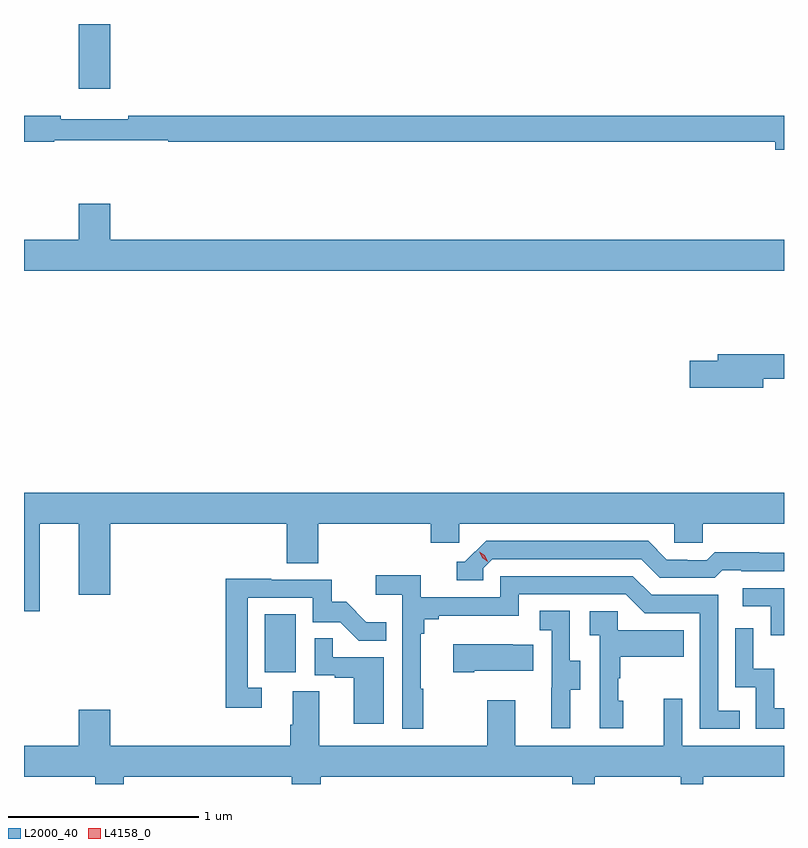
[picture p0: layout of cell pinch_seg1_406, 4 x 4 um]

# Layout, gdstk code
import gdstk
lib = gdstk.Library(unit=1e-6, precision=1e-09)
def R(c, l, rs):  # rectangles x0, y0, x1, y1
    for r in rs: c.add(gdstk.rectangle(r[:2], r[2:], *l))
def P(c, l, *ps):  # polygons
    for p in ps: c.add(gdstk.Polygon(p, *l))
L2000_40 = (2000, 40)
L4158_0 = (4158, 0)

pinch_seg1_406 = lib.new_cell('pinch_seg1_406')
R(pinch_seg1_406, L2000_40, [(945.206,537.63,945.37,537.937), (944.228,540.702,944.392,541.043)])
P(pinch_seg1_406, L2000_40, [(947.939,540.56),(944.488,540.56),(944.488,540.541),(944.132,540.541),(944.132,540.56),(943.939,540.56),(943.939,540.424),(944.098,540.424),(944.098,540.432),(944.698,540.432),(944.698,540.424),(947.894,540.424),(947.894,540.382),(947.939,540.382)],
  [(947.939,539.908),(944.392,539.908),(944.392,540.097),(944.228,540.097),(944.228,539.908),(943.939,539.908),(943.939,539.744),(947.939,539.744)],
  [(947.83,539.176),(947.939,539.176),(947.939,539.305),(947.591,539.305),(947.591,539.271),(947.442,539.271),(947.442,539.129),(947.83,539.129)],
  [(944.023,538.412),(944.228,538.412),(944.228,538.038),(944.392,538.038),(944.392,538.412),(945.323,538.412),(945.323,538.204),(945.488,538.204),(945.488,538.412),(946.079,538.412),(946.079,538.314),(946.23,538.314),(946.23,538.412),(947.361,538.412),(947.361,538.314),(947.511,538.314),(947.511,538.412),(947.939,538.412),(947.939,538.576),(943.939,538.576),(943.939,537.951),(944.023,537.951)],
  [(946.356,538.179),(946.404,538.227),(947.187,538.227),(947.286,538.128),(947.575,538.128),(947.614,538.167),(947.713,538.167),(947.713,538.164),(947.939,538.164),(947.939,538.261),(947.808,538.261),(947.808,538.264),(947.575,538.264),(947.533,538.221),(947.43,538.221),(947.43,538.224),(947.323,538.224),(947.224,538.323),(946.371,538.323),(946.26,538.212),(946.217,538.212),(946.217,538.116),(946.356,538.116)],
  [(946.039,537.545),(946.027,537.545),(946.027,537.833),(946.046,537.833),(946.046,537.91),(946.123,537.91),(946.123,537.929),(946.542,537.929),(946.542,538.041),(947.106,538.041),(947.205,537.942),(947.496,537.942),(947.496,537.333),(947.705,537.333),(947.705,537.429),(947.592,537.429),(947.592,538.038),(947.242,538.038),(947.143,538.137),(946.446,538.137),(946.446,538.026),(946.028,538.026),(946.028,538.142),(945.789,538.142),(945.789,538.04),(945.93,538.04),(945.93,537.333),(946.039,537.333)],
  [(945.19,537.549),(945.117,537.549),(945.117,538.023),(945.459,538.023),(945.459,537.894),(945.603,537.894),(945.701,537.796),(945.845,537.796),(945.845,537.895),(945.741,537.895),(945.634,538.002),(945.558,538.002),(945.558,538.119),(945.239,538.119),(945.239,538.124),(945.001,538.124),(945.001,537.444),(945.19,537.444)],
  [(947.939,538.074),(947.721,538.074),(947.721,537.978),(947.868,537.978),(947.868,537.825),(947.939,537.825)],
  [(946.813,537.538),(946.867,537.538),(946.867,537.693),(946.812,537.693),(946.812,537.956),(946.653,537.956),(946.653,537.853),(946.716,537.853),(946.716,537.549),(946.715,537.549),(946.715,537.336),(946.813,537.336)],
  [(947.092,537.48),(947.067,537.48),(947.067,537.599),(947.077,537.599),(947.077,537.713),(947.411,537.713),(947.411,537.853),(947.064,537.853),(947.064,537.951),(946.917,537.951),(946.917,537.827),(946.968,537.827),(946.968,537.336),(947.092,537.336)],
  [(947.939,537.442),(947.888,537.442),(947.888,537.65),(947.778,537.65),(947.778,537.862),(947.682,537.862),(947.682,537.552),(947.79,537.552),(947.79,537.333),(947.939,537.333)],
  [(945.832,537.711),(945.563,537.711),(945.563,537.809),(945.468,537.809),(945.468,537.615),(945.575,537.615),(945.575,537.603),(945.674,537.603),(945.674,537.36),(945.832,537.36)],
  [(946.309,537.638),(946.619,537.638),(946.619,537.775),(946.511,537.775),(946.511,537.778),(946.197,537.778),(946.197,537.631),(946.309,537.631)],
  [(944.463,537.08),(945.347,537.08),(945.347,537.043),(945.5,537.043),(945.5,537.08),(946.825,537.08),(946.825,537.043),(946.943,537.043),(946.943,537.08),(947.396,537.08),(947.396,537.043),(947.513,537.043),(947.513,537.08),(947.939,537.08),(947.939,537.244),(947.403,537.244),(947.403,537.493),(947.306,537.493),(947.306,537.244),(946.525,537.244),(946.525,537.484),(946.378,537.484),(946.378,537.244),(945.493,537.244),(945.493,537.53),(945.353,537.53),(945.353,537.356),(945.341,537.356),(945.341,537.244),(944.392,537.244),(944.392,537.433),(944.228,537.433),(944.228,537.244),(943.939,537.244),(943.939,537.08),(944.315,537.08),(944.315,537.043),(944.463,537.043)])
P(pinch_seg1_406, L4158_0, [(946.38,538.213),(946.35,538.233),(946.334,538.266),(946.334,538.266),(946.334,538.266),(946.365,538.246),(946.38,538.213),(946.38,538.213)])

lib.write_gds('pinch_seg1_406.gds')
